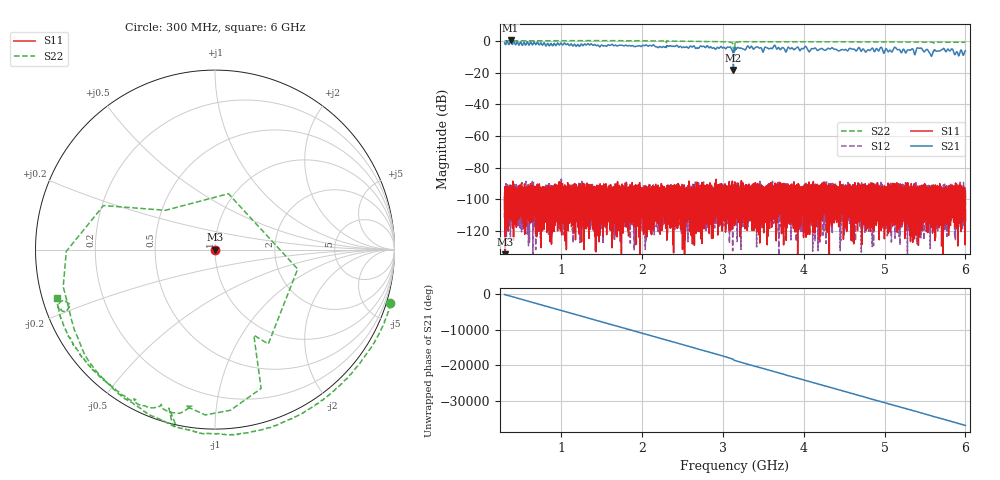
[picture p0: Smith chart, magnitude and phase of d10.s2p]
!Agilent Technologies,N5230C,SG49000117,A.08.50.07
!Agilent N5230C: A.08.50.07
!Date: Sunday, March 17, 2024 03:32:40
!Correction: S11(Off)
!S21(Off)
!S12(Off)
!S22(Full 1 Port(2))
!S2P File: Measurements: S11, S21, S12, S22:
# Hz S  RI  R 50
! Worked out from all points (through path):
!   20001 points, 300 MHz to 6 GHz, reference 50 ohm
!   highest |S21| = 0.44 dB at 373.5 MHz (marker M1); lowest = -18.2 dB at 3.131 GHz (marker M2)
!   lowest |S11| = -143.0 dB at 308.3 MHz (marker M3), VSWR 1.00, Z = 50 - j2.27e-06 ohm
!   |S11| at or under -10 dB: start of sweep to end of sweep
!   |S22| runs from -9.9 to 0.3 dB; largest |S21 - S12| = 1.1
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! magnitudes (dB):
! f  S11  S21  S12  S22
! 300 MHz  -96.0  -1.0  -98.4  0.2
! 308.3 MHz  -143.0  -2.1  -108.1  0.2
! 373.5 MHz  -98.1  0.4  -101.3  0.2
! 1.25 GHz  -95.0  -1.8  -98.6  0.3
! 2.2 GHz  -103.8  -4.1  -103.6  0.1
! 3.074 GHz  -98.3  -3.9  -105.9  -0.5
! 3.131 GHz  -101.3  -18.2  -102.5  -9.1
! 3.15 GHz  -104.1  -4.0  -100.9  -1.5
! 3.18 GHz  -101.5  -4.2  -94.4  -0.8
! 3.328 GHz  -97.7  -4.4  -102.3  -0.4
! 3.484 GHz  -101.5  -5.3  -99.4  -0.4
! 3.633 GHz  -112.2  -2.8  -99.1  -0.4
! 3.772 GHz  -103.8  -6.3  -102.1  -0.4
! 4.1 GHz  -98.4  -4.7  -92.6  -0.4
! 5.05 GHz  -93.8  -6.6  -108.3  -0.5
! 5.135 GHz  -104.1  -4.0  -96.9  -0.5
! 5.369 GHz  -95.8  -8.1  -94.9  -0.6
! 5.429 GHz  -96.2  -4.5  -114.3  -0.6
! 5.572 GHz  -101.2  -8.9  -93.7  -0.6
! 5.718 GHz  -97.6  -5.0  -98.4  -0.6
! 5.895 GHz  -99.6  -6.7  -104.1  -0.7
! 6 GHz  -109.8  -6.1  -95.2  -0.7
